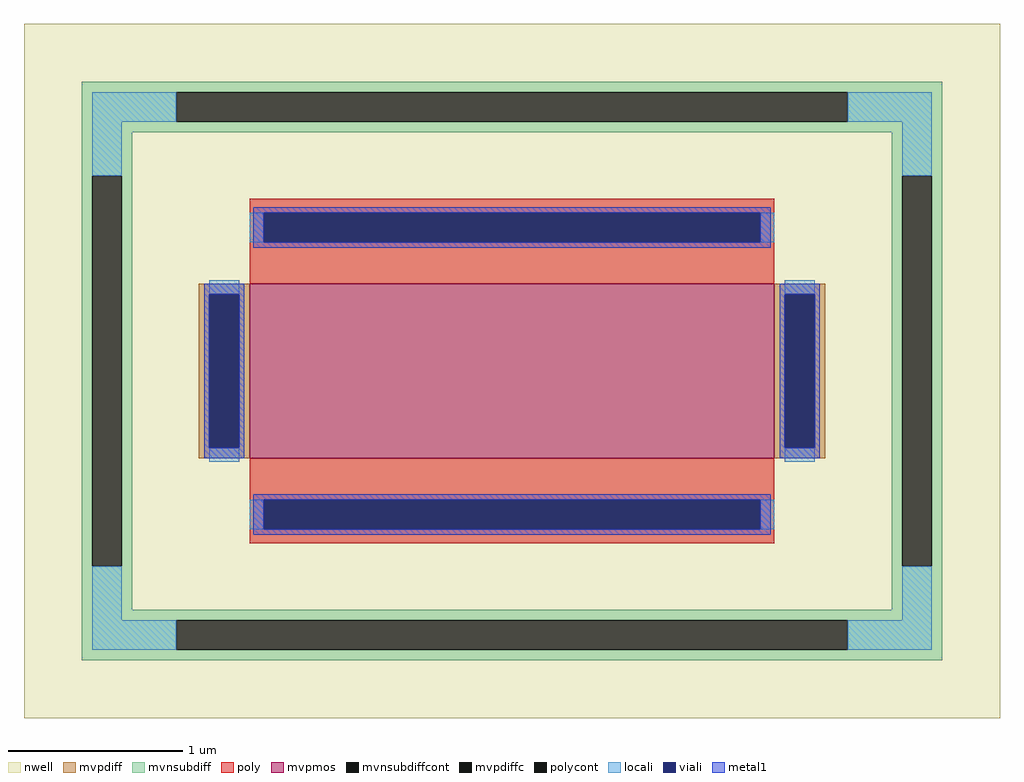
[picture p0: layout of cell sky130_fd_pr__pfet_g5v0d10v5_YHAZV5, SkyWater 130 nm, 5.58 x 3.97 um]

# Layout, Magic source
magic
tech sky130A
magscale 1 2
<< nwell >>
rect -558 -397 558 397
<< mvpmos >>
rect -300 -100 300 100
<< mvpdiff >>
rect -358 88 -300 100
rect -358 -88 -346 88
rect -312 -88 -300 88
rect -358 -100 -300 -88
rect 300 88 358 100
rect 300 -88 312 88
rect 346 -88 358 88
rect 300 -100 358 -88
<< mvpdiffc >>
rect -346 -88 -312 88
rect 312 -88 346 88
<< mvnsubdiff >>
rect -492 319 492 331
rect -492 285 -384 319
rect 384 285 492 319
rect -492 273 492 285
rect -492 223 -434 273
rect -492 -223 -480 223
rect -446 -223 -434 223
rect 434 223 492 273
rect -492 -273 -434 -223
rect 434 -223 446 223
rect 480 -223 492 223
rect 434 -273 492 -223
rect -492 -285 492 -273
rect -492 -319 -384 -285
rect 384 -319 492 -285
rect -492 -331 492 -319
<< mvnsubdiffcont >>
rect -384 285 384 319
rect -480 -223 -446 223
rect 446 -223 480 223
rect -384 -319 384 -285
<< poly >>
rect -300 181 300 197
rect -300 147 -284 181
rect 284 147 300 181
rect -300 100 300 147
rect -300 -147 300 -100
rect -300 -181 -284 -147
rect 284 -181 300 -147
rect -300 -197 300 -181
<< polycont >>
rect -284 147 284 181
rect -284 -181 284 -147
<< locali >>
rect -480 285 -384 319
rect 384 285 480 319
rect -480 223 -446 285
rect 446 223 480 285
rect -300 147 -284 181
rect 284 147 300 181
rect -346 88 -312 104
rect -346 -104 -312 -88
rect 312 88 346 104
rect 312 -104 346 -88
rect -300 -181 -284 -147
rect 284 -181 300 -147
rect -480 -285 -446 -223
rect 446 -285 480 -223
rect -480 -319 -384 -285
rect 384 -319 480 -285
<< viali >>
rect -284 147 284 181
rect -346 -88 -312 88
rect 312 -88 346 88
rect -284 -181 284 -147
<< metal1 >>
rect -296 181 296 187
rect -296 147 -284 181
rect 284 147 296 181
rect -296 141 296 147
rect -352 88 -306 100
rect -352 -88 -346 88
rect -312 -88 -306 88
rect -352 -100 -306 -88
rect 306 88 352 100
rect 306 -88 312 88
rect 346 -88 352 88
rect 306 -100 352 -88
rect -296 -147 296 -141
rect -296 -181 -284 -147
rect 284 -181 296 -147
rect -296 -187 296 -181
<< properties >>
string FIXED_BBOX -463 -302 463 302
string gencell sky130_fd_pr__pfet_g5v0d10v5
string library sky130
string parameters w 1.0 l 3.0 m 1 nf 1 diffcov 100 polycov 100 guard 1 glc 1 grc 1 gtc 1 gbc 1 tbcov 100 rlcov 100 topc 1 botc 1 poverlap 0 doverlap 1 lmin 0.50 wmin 0.42 compatible {sky130_fd_pr__pfet_01v8  sky130_fd_pr__pfet_01v8_lvt sky130_fd_pr__pfet_01v8_hvt  sky130_fd_pr__pfet_g5v0d10v5} full_metal 1 viasrc 100 viadrn 100 viagate 100 viagb 0 viagr 0 viagl 0 viagt 0
<< end >>
